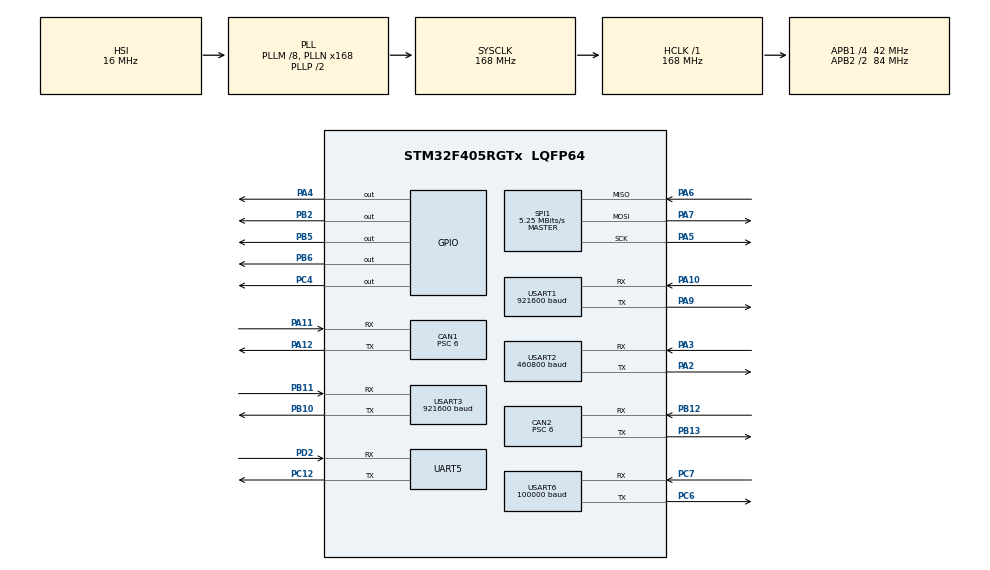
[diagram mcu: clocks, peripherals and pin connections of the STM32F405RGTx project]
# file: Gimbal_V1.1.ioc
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CAN1.ABOM=ENABLE
CAN1.BS1=CAN_BS1_4TQ
CAN1.BS2=CAN_BS2_2TQ
CAN1.CalculateBaudRate=1000000
CAN1.CalculateTimeBit=1000
CAN1.CalculateTimeQuantum=142.85714285714286
CAN1.NART=ENABLE
CAN1.Prescaler=6
CAN2.ABOM=ENABLE
CAN2.BS1=CAN_BS1_4TQ
CAN2.BS2=CAN_BS2_2TQ
CAN2.CalculateBaudRate=1000000
CAN2.CalculateTimeBit=1000
CAN2.CalculateTimeQuantum=142.85714285714286
CAN2.NART=ENABLE
CAN2.Prescaler=6
Dma.Request0=USART1_RX
Dma.Request1=USART2_RX
Dma.Request2=USART2_TX
Dma.Request3=USART3_RX
Dma.Request4=USART3_TX
Dma.Request5=USART6_RX
Dma.Request6=UART5_RX
Dma.Request7=UART5_TX
Dma.UART5_RX.6.Direction=DMA_PERIPH_TO_MEMORY
Dma.UART5_RX.6.FIFOMode=DMA_FIFOMODE_DISABLE
Dma.UART5_RX.6.Instance=DMA1_Stream0
Dma.UART5_RX.6.MemDataAlignment=DMA_MDATAALIGN_BYTE
Dma.UART5_RX.6.MemInc=DMA_MINC_ENABLE
Dma.UART5_RX.6.Mode=DMA_NORMAL
Dma.UART5_RX.6.PeriphDataAlignment=DMA_PDATAALIGN_BYTE
Dma.UART5_RX.6.PeriphInc=DMA_PINC_DISABLE
Dma.UART5_RX.6.Priority=DMA_PRIORITY_LOW
Dma.UART5_TX.7.Direction=DMA_MEMORY_TO_PERIPH
Dma.UART5_TX.7.FIFOMode=DMA_FIFOMODE_DISABLE
Dma.UART5_TX.7.Instance=DMA1_Stream7
Dma.UART5_TX.7.MemDataAlignment=DMA_MDATAALIGN_BYTE
Dma.UART5_TX.7.MemInc=DMA_MINC_ENABLE
Dma.UART5_TX.7.Mode=DMA_NORMAL
Dma.UART5_TX.7.PeriphDataAlignment=DMA_PDATAALIGN_BYTE
Dma.UART5_TX.7.PeriphInc=DMA_PINC_DISABLE
Dma.UART5_TX.7.Priority=DMA_PRIORITY_LOW
Dma.USART1_RX.0.Direction=DMA_PERIPH_TO_MEMORY
Dma.USART1_RX.0.FIFOMode=DMA_FIFOMODE_DISABLE
Dma.USART1_RX.0.Instance=DMA2_Stream2
Dma.USART1_RX.0.MemDataAlignment=DMA_MDATAALIGN_BYTE
Dma.USART1_RX.0.MemInc=DMA_MINC_ENABLE
Dma.USART1_RX.0.Mode=DMA_NORMAL
Dma.USART1_RX.0.PeriphDataAlignment=DMA_PDATAALIGN_BYTE
Dma.USART1_RX.0.PeriphInc=DMA_PINC_DISABLE
Dma.USART1_RX.0.Priority=DMA_PRIORITY_VERY_HIGH
Dma.USART2_RX.1.Direction=DMA_PERIPH_TO_MEMORY
Dma.USART2_RX.1.FIFOMode=DMA_FIFOMODE_DISABLE
Dma.USART2_RX.1.Instance=DMA1_Stream5
Dma.USART2_RX.1.MemDataAlignment=DMA_MDATAALIGN_BYTE
Dma.USART2_RX.1.MemInc=DMA_MINC_ENABLE
Dma.USART2_RX.1.Mode=DMA_NORMAL
Dma.USART2_RX.1.PeriphDataAlignment=DMA_PDATAALIGN_BYTE
Dma.USART2_RX.1.PeriphInc=DMA_PINC_DISABLE
Dma.USART2_RX.1.Priority=DMA_PRIORITY_VERY_HIGH
Dma.USART2_TX.2.Direction=DMA_MEMORY_TO_PERIPH
Dma.USART2_TX.2.FIFOMode=DMA_FIFOMODE_DISABLE
Dma.USART2_TX.2.Instance=DMA1_Stream6
Dma.USART2_TX.2.MemDataAlignment=DMA_MDATAALIGN_BYTE
Dma.USART2_TX.2.MemInc=DMA_MINC_ENABLE
Dma.USART2_TX.2.Mode=DMA_NORMAL
Dma.USART2_TX.2.PeriphDataAlignment=DMA_PDATAALIGN_BYTE
Dma.USART2_TX.2.PeriphInc=DMA_PINC_DISABLE
Dma.USART2_TX.2.Priority=DMA_PRIORITY_VERY_HIGH
Dma.USART3_RX.3.Direction=DMA_PERIPH_TO_MEMORY
Dma.USART3_RX.3.FIFOMode=DMA_FIFOMODE_DISABLE
Dma.USART3_RX.3.Instance=DMA1_Stream1
Dma.USART3_RX.3.MemDataAlignment=DMA_MDATAALIGN_BYTE
Dma.USART3_RX.3.MemInc=DMA_MINC_ENABLE
Dma.USART3_RX.3.Mode=DMA_NORMAL
Dma.USART3_RX.3.PeriphDataAlignment=DMA_PDATAALIGN_BYTE
Dma.USART3_RX.3.PeriphInc=DMA_PINC_DISABLE
Dma.USART3_RX.3.Priority=DMA_PRIORITY_LOW
Dma.USART3_TX.4.Direction=DMA_MEMORY_TO_PERIPH
Dma.USART3_TX.4.FIFOMode=DMA_FIFOMODE_DISABLE
Dma.USART3_TX.4.Instance=DMA1_Stream3
Dma.USART3_TX.4.MemDataAlignment=DMA_MDATAALIGN_BYTE
Dma.USART3_TX.4.MemInc=DMA_MINC_ENABLE
Dma.USART3_TX.4.Mode=DMA_NORMAL
Dma.USART3_TX.4.PeriphDataAlignment=DMA_PDATAALIGN_BYTE
Dma.USART3_TX.4.PeriphInc=DMA_PINC_DISABLE
Dma.USART3_TX.4.Priority=DMA_PRIORITY_LOW
Dma.USART6_RX.5.Direction=DMA_PERIPH_TO_MEMORY
Dma.USART6_RX.5.FIFOMode=DMA_FIFOMODE_DISABLE
Dma.USART6_RX.5.Instance=DMA2_Stream1
Dma.USART6_RX.5.MemDataAlignment=DMA_MDATAALIGN_BYTE
Dma.USART6_RX.5.MemInc=DMA_MINC_ENABLE
Dma.USART6_RX.5.Mode=DMA_NORMAL
Dma.USART6_RX.5.PeriphDataAlignment=DMA_PDATAALIGN_BYTE
Dma.USART6_RX.5.PeriphInc=DMA_PINC_DISABLE
Dma.USART6_RX.5.Priority=DMA_PRIORITY_LOW
Mcu.Family=STM32F4
Mcu.Name=STM32F405RGTx
Mcu.Package=LQFP64
NVIC.CAN1_RX0_IRQn=true\:0\:0\:false\:false\:true\:true\:true\:true
NVIC.CAN2_RX1_IRQn=true\:0\:0\:false\:false\:true\:true\:true\:true
NVIC.DMA1_Stream0_IRQn=true\:0\:0\:false\:false\:true\:false\:true\:true
NVIC.DMA1_Stream1_IRQn=true\:0\:0\:false\:false\:true\:false\:true\:true
NVIC.DMA1_Stream3_IRQn=true\:0\:0\:false\:false\:true\:false\:true\:true
NVIC.DMA1_Stream5_IRQn=true\:0\:0\:false\:false\:true\:false\:true\:true
NVIC.DMA1_Stream6_IRQn=true\:0\:0\:false\:false\:true\:false\:true\:true
NVIC.DMA1_Stream7_IRQn=true\:0\:0\:false\:false\:true\:false\:true\:true
NVIC.DMA2_Stream1_IRQn=true\:0\:0\:false\:false\:true\:false\:true\:true
NVIC.DMA2_Stream2_IRQn=true\:0\:0\:false\:false\:true\:false\:true\:true
NVIC.PriorityGroup=NVIC_PRIORITYGROUP_4
NVIC.TIM1_UP_TIM10_IRQn=true\:0\:0\:false\:false\:true\:true\:true\:true
NVIC.TIM2_IRQn=true\:0\:0\:false\:false\:true\:true\:true\:true
NVIC.TIM5_IRQn=true\:0\:0\:false\:false\:true\:true\:true\:true
NVIC.TIM6_DAC_IRQn=true\:0\:0\:false\:false\:true\:true\:true\:true
NVIC.TIM7_IRQn=true\:0\:0\:false\:false\:true\:true\:true\:true
NVIC.TIM8_BRK_TIM12_IRQn=true\:0\:0\:false\:false\:true\:true\:true\:true
NVIC.TIM8_UP_TIM13_IRQn=true\:0\:0\:false\:false\:true\:true\:true\:true
NVIC.UART5_IRQn=true\:0\:0\:false\:false\:true\:true\:true\:true
NVIC.USART1_IRQn=true\:0\:0\:false\:false\:true\:true\:true\:true
NVIC.USART2_IRQn=true\:0\:0\:false\:false\:true\:true\:true\:true
NVIC.USART3_IRQn=true\:0\:0\:false\:false\:true\:true\:true\:true
NVIC.USART6_IRQn=true\:0\:0\:false\:false\:true\:true\:true\:true
PA10.GPIO_PuPd=GPIO_PULLUP
PA10.Mode=Asynchronous
PA10.Signal=USART1_RX
PA11.Mode=CAN_Activate
PA11.Signal=CAN1_RX
PA12.Mode=CAN_Activate
PA12.Signal=CAN1_TX
PA13.Mode=Serial_Wire
PA13.Signal=SYS_JTMS-SWDIO
PA14.Mode=Serial_Wire
PA14.Signal=SYS_JTCK-SWCLK
PA2.GPIO_PuPd=GPIO_PULLUP
PA2.Mode=Asynchronous
PA2.Signal=USART2_TX
PA3.GPIO_PuPd=GPIO_PULLUP
PA3.Mode=Asynchronous
PA3.Signal=USART2_RX
PA4.GPIO_PuPd=GPIO_NOPULL
PA4.GPIO_Speed=GPIO_SPEED_FREQ_VERY_HIGH
PA4.PinState=GPIO_PIN_RESET
PA4.Signal=GPIO_Output
PA5.Mode=Full_Duplex_Master
PA5.Signal=SPI1_SCK
PA6.Mode=Full_Duplex_Master
PA6.Signal=SPI1_MISO
PA7.Mode=Full_Duplex_Master
PA7.Signal=SPI1_MOSI
PA9.GPIO_PuPd=GPIO_PULLUP
PA9.Mode=Asynchronous
PA9.Signal=USART1_TX
PB10.GPIO_PuPd=GPIO_PULLUP
PB10.Mode=Asynchronous
PB10.Signal=USART3_TX
PB11.GPIO_PuPd=GPIO_PULLUP
PB11.Mode=Asynchronous
PB11.Signal=USART3_RX
PB12.Mode=CAN_Activate
PB12.Signal=CAN2_RX
PB13.Mode=CAN_Activate
PB13.Signal=CAN2_TX
PB2.GPIO_PuPd=GPIO_NOPULL
PB2.Signal=GPIO_Output
PB5.GPIO_PuPd=GPIO_NOPULL
PB5.Signal=GPIO_Output
PB6.GPIO_PuPd=GPIO_NOPULL
PB6.Signal=GPIO_Output
PC12.Mode=Asynchronous
PC12.Signal=UART5_TX
PC4.GPIO_PuPd=GPIO_NOPULL
PC4.GPIO_Speed=GPIO_SPEED_FREQ_VERY_HIGH
PC4.Signal=GPIO_Output
PC6.GPIO_PuPd=GPIO_PULLUP
PC6.Mode=Asynchronous
PC6.Signal=USART6_TX
PC7.GPIO_PuPd=GPIO_PULLUP
PC7.Mode=Asynchronous
PC7.Signal=USART6_RX
PD2.Mode=Asynchronous
PD2.Signal=UART5_RX
PH0-OSC_IN.Mode=HSE-External-Oscillator
PH0-OSC_IN.Signal=RCC_OSC_IN
PH1-OSC_OUT.Mode=HSE-External-Oscillator
PH1-OSC_OUT.Signal=RCC_OSC_OUT
ProjectManager.HeapSize=0x1000
ProjectManager.StackSize=0x2000
ProjectManager.TargetToolchain=CMake
RCC.48MHZClocksFreq_Value=84000000
RCC.AHBFreq_Value=168000000
RCC.APB1CLKDivider=RCC_HCLK_DIV4
RCC.APB1Freq_Value=42000000
RCC.APB1TimFreq_Value=84000000
RCC.APB2CLKDivider=RCC_HCLK_DIV2
RCC.APB2Freq_Value=84000000
RCC.APB2TimFreq_Value=168000000
RCC.CortexFreq_Value=168000000
RCC.HCLKFreq_Value=168000000
RCC.HSE_VALUE=25000000
RCC.HSI_VALUE=16000000
RCC.LSE_VALUE=32768
RCC.PLLM=8
RCC.PLLN=168
RCC.SYSCLKFreq_VALUE=168000000
RCC.SYSCLKSource=RCC_SYSCLKSOURCE_PLLCLK
RCC.VCOOutputFreq_Value=336000000
SPI1.BaudRatePrescaler=SPI_BAUDRATEPRESCALER_16
SPI1.CalculateBaudRate=5.25 MBits/s
SPI1.Direction=SPI_DIRECTION_2LINES
SPI1.Mode=SPI_MODE_MASTER
SPI1.VirtualType=VM_MASTER
TIM1.Period=4000-1
TIM1.Prescaler=84-1
TIM2.Period=500-1
TIM2.Prescaler=84-1
TIM5.Period=1000-1
TIM5.Prescaler=84-1
TIM6.Period=10000-1
TIM6.Prescaler=840-1
TIM7.Period=1000-1
TIM7.Prescaler=84-1
TIM8.Period=1250-1
TIM8.Prescaler=84-1
UART5.VirtualMode=Asynchronous
USART1.BaudRate=921600
USART1.VirtualMode=VM_ASYNC
USART2.BaudRate=460800
USART2.VirtualMode=VM_ASYNC
USART3.BaudRate=921600
USART3.VirtualMode=VM_ASYNC
USART6.BaudRate=100000
USART6.Parity=PARITY_EVEN
USART6.VirtualMode=VM_ASYNC
USART6.WordLength=WORDLENGTH_9B
VP_TIM1_VS_ClockSourceINT.Mode=Internal
VP_TIM2_VS_ClockSourceINT.Mode=Internal
VP_TIM5_VS_ClockSourceINT.Mode=Internal
VP_TIM6_VS_ClockSourceINT.Mode=Enable_Timer
VP_TIM7_VS_ClockSourceINT.Mode=Enable_Timer
VP_TIM8_VS_ClockSourceINT.Mode=Internal
board=custom

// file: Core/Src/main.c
/* USER CODE BEGIN Header */
/**
 ******************************************************************************
 * @file           : main.c
 * @brief          : Main program body
 ******************************************************************************
 * @attention
 *
 * Copyright (c) 2025 STMicroelectronics.
 * All rights reserved.
 *
 * This software is licensed under terms that can be found in the LICENSE file
 * in the root directory of this software component.
 * If no LICENSE file comes with this software, it is provided AS-IS.
 *
 ******************************************************************************
 */
/* USER CODE END Header */
#include "main.h"
#include "can.h"
#include "dma.h"
#include "spi.h"
#include "tim.h"
#include "usart.h"
#include "gpio.h"

/* USER CODE BEGIN Includes */
#include "RM_Lib.h"
#include "communication.h"
#include "CP_System.h"
#include "SMC.h"
#include "DM.h"
#include "RM.h"
#include "PID.h"
#include "YAW.h"
#include "Pitch.h"
#include "Shoot.h"
#include "hipnuc_dec.h"
/* USER CODE END Includes */

/* USER CODE BEGIN PD */
#define ROBOT_ID_MASK (0x0001 << 0)
#define DOGHOLE_FLAG_MASK (0x0001 << 1)
#define SPEED_CUT_FLAG_MASK (0x0001 << 2)
#define XTL_FLAG_MASK (0x0001 << 3)
#define PI 3.1415926
#define JG_ON HAL_GPIO_WritePin(GPIOB, GPIO_PIN_5, GPIO_PIN_SET)

#define PRINTF(x) INFO(#x "=%.1f\n", (x))
#define PRINTF_INFO(x) INFO(#x "=%d\n", (x));

/* USER CODE END PD */

/* USER CODE BEGIN PV */
USER_CAN CAN_1(&hcan1, 0),
    CAN_2(&hcan2, 1);
MOTOR_RM M6020_YAW(0x208, &CAN_2),
    M3508_MCL_Right(0x201, &CAN_1),
    M3508_MCL_Left(0x202, &CAN_1),
    M2006_BP(0x204, &CAN_2);

MOTOR_DM DM_PITCH(0x11, &CAN_1),
    DM_YAW(0x12, &CAN_2);
BMI088 GIMBAL_088(&hspi1, &htim7, GPIOA, GPIO_PIN_4, GPIOC, GPIO_PIN_4, 3000, 1.7f, BMI088_GYRO_RANGE_2000, BMI088_ACC_RANGE_24);
// RGB_UI RGB_UI(&htim3,TIM_CHANNEL_1,"put the Update function in 800kHz interrupt");
extern uint16_t zm_test_flag;
extern YAW *yaw;
extern PITCH *pitch;
extern MCL *mcl;
extern BP *bp;
extern uint8_t test_flag_1, test_flag_2;

Vision_LPF V_Pitch(30, 0.001, PI);
Vision_LPF V_Yaw(30, 0.001, PI);
Vision_LPF Yaw_PID_OUT(20, 0.001, PI);
Vision_LPF Pitch_PID_OUT(20, 0.001, PI);
Vision_LPF LPF_Deal_pitch(30, 0.001, PI);
Vision_LPF Pitch_MCU(10, 0.001, PI);
RC YK(&huart6, &huart1);
//-----------------------------------------------------------------------------------------------------//
uint8_t YK_Mode = PROTECT_MODE;
uint8_t GIMBAL_088_State = BMI088_ERROR;
uint8_t YAW_Mode = PROTECT_MODE, PITCH_Mode = PROTECT_MODE;
f Pitch_Pid_Out, Yaw_Pid_Out, BP_PID_OUT;
int remain_heat;
uint8_t jianshu_flag = 0, Prefabricate_Flag = 0;
uint16_t shooter_id1_17mm_barrel_cooling_value, shooter_id1_17mm_cooling_limit = 0, shooter_id1_17mm_cooling_rate = 0, shooter_id1_17mm_cooling_heat = 0;
uint16_t Communicate_Send_Flag_1, Communicate_Rx_Flag_1;
uint8_t Buff_Flag = 0;
float LPF_Pitch_out;
uint8_t DR16_Stop_Flag;
uint16_t barrel_cooling_value = 0, cooling_limit = 0, cooling_heat = 0;

float *MCL_PID_OUT = nullptr;
uint8_t Right_Flag = 0;
float pitch_PID_OUT, LPF_Deal_pitch_out;
//----------------------------------------INFO-----------------------------------------------//
static uint8_t free_FIFO;
static uint8_t test_flag;
static uint8_t Motor_test_flag = 0;
static f test_out = 0;
static f pitch_test;
uint16_t Arrmor_id, Last_Arrmor_id;
uint8_t Arrmor_event_seq, Last_Arrmor_event_seq;
static u8 start_flag;
static u8 buff_start_flag;
u8 buff_mode;
static uint8_t start_yaw = 0, start_pitch = 0, time_yaw = 0;
//----------------------------------------------UpDowm checking--------------------------------------------------------//
UpDown_check_class UD_E(0), UD_SpeedUp(0), UD_SpeedDown(0), UD_Buff(0), UD_YK_BoPan(0), UD_BoPan_lian(0), UD_GenSui(0), UD_l(0), UD_ch0_exceed_600(0), UD_Laser(0);
UpDown_check_class UD_GenSui_chance(0);
YKStateTransitionDetector YK_MODE_SW_C_N(0), YK_MODE_SW_C_S(0), YK_MODE_SW_N_C(0), YK_MODE_SW_S_C(0);

/* USER CODE END PV */

void SystemClock_Config(void);

/* USER CODE BEGIN 0 */
//--------------------------------------------TASK1---------------------------------------------------------------------------//
void MODE_DEAL()
{
  if (YK.yaogan.s1 == YK_SW_UP && YK.yaogan.s2 == YK_SW_UP)
    YK_Mode = PROTECT_MODE;
  else if (YK.yaogan.s1 == YK_SW_UP && YK.yaogan.s2 == YK_SW_MID)
    YK_Mode = ONLY_GIMBAL;
  else if (YK.yaogan.s1 == YK_SW_MID && YK.yaogan.s2 == YK_SW_UP)
    YK_Mode = ONLY_CHASSIC;
  else if (YK.yaogan.s1 == YK_SW_MID && YK.yaogan.s2 == YK_SW_MID)
    YK_Mode = CONTROL_MODE;
  else if (YK.yaogan.s1 == YK_SW_DOWN && YK.yaogan.s2 == YK_SW_MID)
    YK_Mode = XTL_MODE;
  else if (YK.yaogan.s1 == YK_SW_MID && YK.yaogan.s2 == YK_SW_DOWN)
    YK_Mode = SHOOT_MODE;
  else if (YK.yaogan.s1 == YK_SW_DOWN && YK.yaogan.s2 == YK_SW_DOWN)
    YK_Mode = PLAYER_MODE;
  else if (YK.yaogan.s1 == YK_SW_DOWN && YK.yaogan.s2 == YK_SW_UP)
    YK_Mode = FAST_CHASSIC;
  else
    YK_Mode = PROTECT_MODE;

  if (GIMBAL_088_State == BMI088_OK && (YK_Mode == CONTROL_MODE || YK_Mode == ONLY_GIMBAL || (YK_Mode == SHOOT_MODE && !request.zimiao_status) || YK_Mode == PLAYER_MODE || YK_Mode == XTL_MODE) && !request.zimiao_status)
  {
    YAW_Mode = GYRO_MODE;
  }
  else if (request.zimiao_status)
  {
    YAW_Mode = AUTO_MODE;
  }
  else
  {
    YAW_Mode = PROTECT_MODE;
  }

  if (GIMBAL_088_State == BMI088_OK && (YK_Mode == CONTROL_MODE || YK_Mode == ONLY_GIMBAL || YK_Mode == SHOOT_MODE || YK_Mode == PLAYER_MODE || YK_Mode == XTL_MODE) && !request.zimiao_status)
  {
    PITCH_Mode = GYRO_MODE;
  }
  else if (request.zimiao_status)
  {
    PITCH_Mode = AUTO_MODE;
  }
  else
  {
    PITCH_Mode = PROTECT_MODE;
  }
}
void can2_communicate_deal()
{
  static uint8_t flag = 0;

  if (YK.VT13_Data.mode_sw)
  {
    if (YK.VT13_rx_buffer[0] == 0xA9 && YK.VT13_rx_buffer[1] == 0x53)
    {
      YK.VT13_rx_buffer[7] = (YK.VT13_rx_buffer[7] & 0x0F) | (0xA << 4);
      CAN_2.Send_RM(0x110,
                    YK.VT13_rx_buffer[3] | (YK.VT13_rx_buffer[2] << 8),
                    YK.VT13_rx_buffer[5] | (YK.VT13_rx_buffer[4] << 8),
                    YK.VT13_rx_buffer[7] | (YK.VT13_rx_buffer[6] << 8),
                    YK.VT13_rx_buffer[18] | (YK.VT13_rx_buffer[17] << 8));
    }
  }
  else
  {
    CAN_2.Send_RM(0x110,
                  YK.DR16_rx_buffer[1] | (YK.DR16_rx_buffer[0] << 8),
                  YK.DR16_rx_buffer[3] | (YK.DR16_rx_buffer[2] << 8),
                  YK.DR16_rx_buffer[5] | (YK.DR16_rx_buffer[4] << 8),
                  YK.DR16_rx_buffer[15] | (YK.DR16_rx_buffer[14] << 8));
  }

  if (flag)
  {
    CAN_2.Send_RM(0x113, YK.DR16_rx_buffer[17] | (YK.DR16_rx_buffer[16] << 8), Communicate_Send_Flag_1, 0, 0);
    flag = 0;
  }
  else
  {
    CAN_2.Send_RM(0x115, request.zimiao_status, 0, 0, 0);
    flag = 1;
  }

  if (CAN_2.RxHeader.StdId == 0x558)
  {
    Communicate_Rx_Flag_1 = CAN_2.rx_buf[1] | CAN_2.rx_buf[0] << 8;
    shooter_id1_17mm_barrel_cooling_value = CAN_2.rx_buf[3] | CAN_2.rx_buf[2] << 8;
    shooter_id1_17mm_cooling_limit = CAN_2.rx_buf[5] | CAN_2.rx_buf[4] << 8;
    shooter_id1_17mm_cooling_heat = CAN_2.rx_buf[7] | CAN_2.rx_buf[6] << 8;
  }
}
void jianshu_deal()
{
  if (YK_Mode == PLAYER_MODE)
  {
    jianshu_flag = GYRO_MODE;
  }
  else
    jianshu_flag = PROTECT_MODE;

  if (YK.shubiao.press_r || YK.yaogan.v < -600)
  {
    request.zimiao_status = 1;
    Right_Flag = 1;
  }
  else
  {
    request.zimiao_status = 0;
    Right_Flag = 0;
  }
  if (jianshu_flag)
  {
    if (YK.Pressed_Check(KEY_PRESSED_Z) && YK.Pressed_Check(KEY_PRESSED_CTRL))
    {
      uint8_t re_time;
      // RGB_UI.WS_WriteAll_RGB(RGB_goal,0,0);
      HAL_Delay(5);
      CAN_1.Send_RM(0x2FF, 0, 0, 0, 0);
      HAL_Delay(10);

      for (re_time = 0; re_time < 25; re_time++)
      {
        Yaw_Pid_Out = 0;
        CAN_2.Send_RM(0x1ff, 0, 0, 0, 0);
        HAL_Delay(10);
      }
      CAN_1.Send_RM(0x200, 0, 0, 0, 0);
      HAL_Delay(20);
      __set_FAULTMASK(1);
      NVIC_SystemReset();
    }
  }
  if (Communicate_Rx_Flag_1 & ROBOT_ID_MASK)
    AS.colour.typeMum = 0;
  else
    AS.colour.typeMum = 1;
  if (GIMBAL_088_State != 0)
    Communicate_Send_Flag_1 |= (0x0001 << 0);
  else
    Communicate_Send_Flag_1 &= ~(0x0001 << 0);
  if (Buff_Flag != 0)
    Communicate_Send_Flag_1 |= (0x0001 << 2);
  else
    Communicate_Send_Flag_1 &= ~(0x0001 << 2);
  if (UD_SpeedUp.updata(YK.Pressed_Check(KEY_PRESSED_F)) == UpDown_check_rising && (YK.jianpan & KEY_PRESSED_CTRL))
  {
    mcl->MCL_Change += 50;
  }

  if (UD_SpeedDown.updata(YK.Pressed_Check(KEY_PRESSED_F)) == UpDown_check_rising && !(YK.jianpan & KEY_PRESSED_CTRL))
  {
    mcl->MCL_Change -= 50;
  }
  if (UD_Buff.updata(YK.Pressed_Check(KEY_PRESSED_V)) == UpDown_check_rising || (YK_Mode == SHOOT_MODE && YK.yaogan.v > 600))
  {
    //  if(buff_start_flag == 0)
    //  {
    //     buff_start_flag = 1;
    //  }
    //  else
    //  {
    //     buff_start_flag = 0;
    //  }
    //  buff_mode = buff_start_flag;
    buff_mode = (buff_mode + 1) % 3;
  }
}
uint8_t start_deal()
{
  static u8 open = 0;
  CAN_1.Init(0, 0);
  HAL_Delay(5);
  CAN_2.Init(1, 1);
  HAL_Delay(5);
  YK.VT13_Init();
  YK.DT16_Init();
  HAL_Delay(5);
  Mini_PC_Init();
  HAL_Delay(5);
  DM_PITCH.DM_Start(0x01);
  HAL_Delay(10);
  DM_YAW.DM_Start(0x02);
  HAL_Delay(5);
  GIMBAL_088_State = GIMBAL_088.Init();
  HAL_Delay(10);
  HAL_TIM_Base_Start_IT(&htim1); // 500Hz
  HAL_TIM_Base_Start_IT(&htim8); // 1000Hz
  HAL_TIM_Base_Start_IT(&htim6); // 10Hz
  HAL_TIM_Base_Start_IT(&htim7);
  HAL_TIM_Base_Start_IT(&htim2); // 2000Hz
  V_Yaw.Vision_Low_Pass_Filter_Init();
  V_Pitch.Vision_Low_Pass_Filter_Init();
  Yaw_PID_OUT.Vision_Low_Pass_Filter_Init();
  Pitch_PID_OUT.Vision_Low_Pass_Filter_Init();
  LPF_Deal_pitch.Vision_Low_Pass_Filter_Init();
  Pitch_MCU.Vision_Low_Pass_Filter_Init();
  HAL_Delay(5);
  open = 1;
  return open;
}
/* USER CODE END 0 */

int main(void)
{

  /* MCU Configuration--------------------------------------------------------*/

  /* Reset of all peripherals, Initializes the Flash interface and the Systick. */
  HAL_Init();

  /* Configure the system clock */
  SystemClock_Config();

  /* Initialize all configured peripherals */
  MX_GPIO_Init();
  MX_DMA_Init();
  MX_CAN1_Init();
  MX_CAN2_Init();
  MX_SPI1_Init();
  MX_USART1_UART_Init();
  MX_USART2_UART_Init();
  MX_USART3_UART_Init();
  MX_USART6_UART_Init();
  MX_TIM1_Init();
  MX_TIM5_Init();
  MX_TIM6_Init();
  MX_TIM7_Init();
  MX_TIM8_Init();
  MX_UART5_Init();
  MX_TIM2_Init();
  /* USER CODE BEGIN 2 */
  HAL_Delay(500);
  // IMU_UART_Init();
  start_flag = start_deal();
  /* USER CODE END 2 */

  /* Infinite loop */
  /* USER CODE BEGIN WHILE */
  while (1)
  {
    JG_ON;
    MODE_DEAL();
    mcl->MCL_while_layer(YK_Mode);
    bp->BP_while_layer();
    jianshu_deal();
    yaw->set_SMCref(yaw->Target_Angle);
    pitch->set_SMCref(pitch->Target_Angle);
    //------------------------------------------------------------INFO------------------------------------------------------------------//
    //	  INFO("%d\n",One_Target_Angle);
    //      PRINTF(Pitch_Pid_Out);
    //    INFO("%.f,%.f,%.f,%.f\n",Target_Yaw_Angle,GIMBAL_088.realAngle.yaw,M6020_Yaw_Speed.OUT_PID,GIMBAL_088.Anglespeed.Deal_yaw);
    //      INFO("%.f,%.f,%.f,%.f\n",Target_Pitch_Angle,GIMBAL_088.realAngle.roll,Pitch_Pid_Out,SuperPower.pitch.f);
    //      INFO("%.f,%.f,%.f,%.f\n",Target_Yaw_Angle,GIMBAL_088.realAngle.yaw,Target_Pitch_Angle,GIMBAL_088.realAngle.roll);
    //      INFO("%.2f,%.2f\n",pitch->Target_Angle,GIMBAL_088.realAngle.roll);
    //      INFO("%.2f\n", bp->PID_OUT);
    // INFO("%.2f,%.2f\n",hipnuc_raw.hi91.pitch,GIMBAL_088.realAngle.roll);
    // INFO("%.2f\n",Yaw_Pid_Out);
    // INFO("%.2f,%.2f\n", GIMBAL_088.realAngle.yaw, yaw->Target_Angle);
    //--------------------------------------------------TASK-----------------------------------------------------//

    /* USER CODE END WHILE */

  }
}

void SystemClock_Config(void)
{
  RCC_OscInitTypeDef RCC_OscInitStruct = {0};
  RCC_ClkInitTypeDef RCC_ClkInitStruct = {0};

  /** Configure the main internal regulator output voltage
  */
  __HAL_RCC_PWR_CLK_ENABLE();
  __HAL_PWR_VOLTAGESCALING_CONFIG(PWR_REGULATOR_VOLTAGE_SCALE1);

  /** Initializes the RCC Oscillators according to the specified parameters
  * in the RCC_OscInitTypeDef structure.
  */
  RCC_OscInitStruct.OscillatorType = RCC_OSCILLATORTYPE_HSI;
  RCC_OscInitStruct.HSIState = RCC_HSI_ON;
  RCC_OscInitStruct.HSICalibrationValue = RCC_HSICALIBRATION_DEFAULT;
  RCC_OscInitStruct.PLL.PLLState = RCC_PLL_ON;
  RCC_OscInitStruct.PLL.PLLSource = RCC_PLLSOURCE_HSI;
  RCC_OscInitStruct.PLL.PLLM = 8;
  RCC_OscInitStruct.PLL.PLLN = 168;
  RCC_OscInitStruct.PLL.PLLP = RCC_PLLP_DIV2;
  RCC_OscInitStruct.PLL.PLLQ = 4;
  if (HAL_RCC_OscConfig(&RCC_OscInitStruct) != HAL_OK)
  {
    Error_Handler();
  }

  /** Initializes the CPU, AHB and APB buses clocks
  */
  RCC_ClkInitStruct.ClockType = RCC_CLOCKTYPE_HCLK|RCC_CLOCKTYPE_SYSCLK
                              |RCC_CLOCKTYPE_PCLK1|RCC_CLOCKTYPE_PCLK2;
  RCC_ClkInitStruct.SYSCLKSource = RCC_SYSCLKSOURCE_PLLCLK;
  RCC_ClkInitStruct.AHBCLKDivider = RCC_SYSCLK_DIV1;
  RCC_ClkInitStruct.APB1CLKDivider = RCC_HCLK_DIV4;
  RCC_ClkInitStruct.APB2CLKDivider = RCC_HCLK_DIV2;

  if (HAL_RCC_ClockConfig(&RCC_ClkInitStruct, FLASH_LATENCY_5) != HAL_OK)
  {
    Error_Handler();
  }
}

/* USER CODE BEGIN 4 */
void HAL_TIM_PeriodElapsedCallback(TIM_HandleTypeDef *htim)
{
  if (htim == &htim1) // 500Hz            //CAN2通讯
  {
    can2_communicate_deal();
  }
  if (htim == &htim6) // 10Hz
  {
    if (!DR16_Stop_Flag)
      YK.DT16_watchdog_run();
    YK.VT13_watchdog_run();
    static uint8_t re_start_flag = 0, motor_flag = 0;
    if (re_start_flag % 10 == 0)
    {
      if (motor_flag)
      {
        DM_YAW.DM_Start(0x02);
        test_flag++;
        re_start_flag = 0;
        motor_flag = 0;
      }
      else
      {
        DM_PITCH.DM_Start(0x01);
        motor_flag = 1;
        re_start_flag = 0;
      }
    }
    re_start_flag++;
  }
  if (htim == &htim7) // 1000Hz
  {
    GIMBAL_088.analyse();
    //bp->BP_time_out();
  }
  if (htim == &htim2) // 2000Hz
  {
    static uint8_t dm_send_flag = 0;
    if (dm_send_flag % 2 == 0)
    {
      if (DM_PITCH.ERR == 1)
      {
        if (PITCH_Mode == PROTECT_MODE)
          DM_PITCH.DM_MIT(0x01, 0, 0, 0, 0, 0); // Pitch_Pid_Out
        else
          DM_PITCH.DM_MIT(0x01, 0, 0, 0, 0.5, -Pitch_Pid_Out); //-Pitch_Pid_Out
      }
    }
    else
    {
      if (DM_YAW.ERR == 1)
      {
        if (YAW_Mode == PROTECT_MODE)
          DM_YAW.DM_MIT(0x02, 0, 0, 0, 0, 0); // Yaw_Pid_Out
        else
          DM_YAW.DM_MIT(0x02, 0, 0, 0, 0.5, Yaw_Pid_Out); // Yaw_Pid_Out
      }
    }
    dm_send_flag++;
  }

  if (htim == &htim8) // 1000Hz
  {
    AS.Q_info_0.f = GIMBAL_088.q0_t;
    AS.Q_info_1.f = GIMBAL_088.q1_t;
    AS.Q_info_2.f = GIMBAL_088.q2_t;
    AS.Q_info_3.f = GIMBAL_088.q3_t;
    AS.heat_speed.f = 24.4;
    Mini_PC_SendData();
    if (YK_Mode == PROTECT_MODE)
    {
      CAN_1.Send_RM(0x200, 0, 0, 0, 0);
    }
    else
    {
      CAN_1.Send_RM(0x200, mcl->PID_OUT[0], mcl->PID_OUT[1], 0, 0);
    }
  }
}

void HAL_CAN_RxFifo0MsgPendingCallback(CAN_HandleTypeDef *hcan)
{
  if (CAN_1.Receive(&hcan1) == HAL_OK)
  {
    if (DM_PITCH.DM_update() == HAL_OK)
    {
      Pitch_Pid_Out = pitch->Pitch_Out_Interface(jianshu_flag);
    }
    MCL_PID_OUT = mcl->MCL_deal(YK_Mode);
  }
}

void HAL_CAN_RxFifo1MsgPendingCallback(CAN_HandleTypeDef *hcan)
{
  if (CAN_2.Receive(&hcan2) == HAL_OK)
  {
    if (DM_YAW.DM_update() == HAL_OK)
    {
      Yaw_Pid_Out = yaw->Yaw_Out_Interface(jianshu_flag);
      // CAN_2.Send_RM(0x1FE, 0, 0, 0, -Yaw_Pid_Out);
    }
    if (M2006_BP.update() == HAL_OK)
    {
      BP_PID_OUT = bp->BP_deal(YK_Mode, jianshu_flag);
      CAN_2.Send_RM(0x200, 0, 0, 0, BP_PID_OUT);
    }
  }
}
/* USER CODE END 4 */

void Error_Handler(void)
{
  __disable_irq();
  while (1)
  {
  }
}
